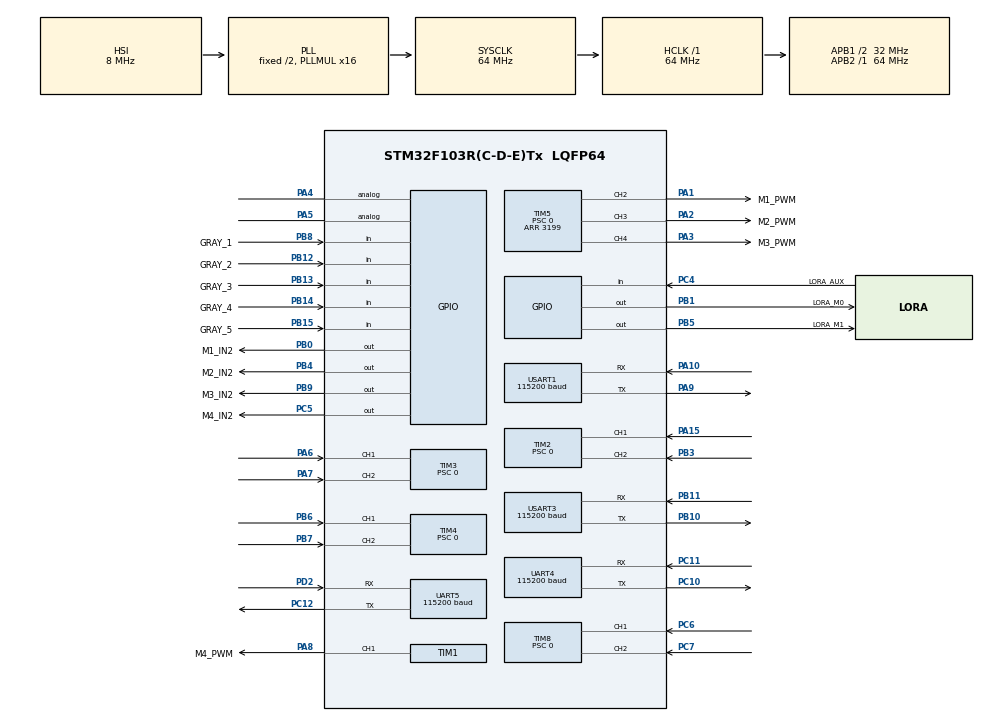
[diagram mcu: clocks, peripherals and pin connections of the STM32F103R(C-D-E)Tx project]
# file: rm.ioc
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Dma.Request0=USART3_RX
Dma.Request1=USART3_TX
Dma.Request2=UART4_RX
Dma.Request3=UART4_TX
Dma.UART4_RX.2.Direction=DMA_PERIPH_TO_MEMORY
Dma.UART4_RX.2.Instance=DMA2_Channel3
Dma.UART4_RX.2.MemDataAlignment=DMA_MDATAALIGN_BYTE
Dma.UART4_RX.2.MemInc=DMA_MINC_ENABLE
Dma.UART4_RX.2.Mode=DMA_CIRCULAR
Dma.UART4_RX.2.PeriphDataAlignment=DMA_PDATAALIGN_BYTE
Dma.UART4_RX.2.PeriphInc=DMA_PINC_DISABLE
Dma.UART4_RX.2.Priority=DMA_PRIORITY_LOW
Dma.UART4_TX.3.Direction=DMA_MEMORY_TO_PERIPH
Dma.UART4_TX.3.Instance=DMA2_Channel5
Dma.UART4_TX.3.MemDataAlignment=DMA_MDATAALIGN_BYTE
Dma.UART4_TX.3.MemInc=DMA_MINC_ENABLE
Dma.UART4_TX.3.Mode=DMA_CIRCULAR
Dma.UART4_TX.3.PeriphDataAlignment=DMA_PDATAALIGN_BYTE
Dma.UART4_TX.3.PeriphInc=DMA_PINC_DISABLE
Dma.UART4_TX.3.Priority=DMA_PRIORITY_LOW
Dma.USART3_RX.0.Direction=DMA_PERIPH_TO_MEMORY
Dma.USART3_RX.0.Instance=DMA1_Channel3
Dma.USART3_RX.0.MemDataAlignment=DMA_MDATAALIGN_BYTE
Dma.USART3_RX.0.MemInc=DMA_MINC_ENABLE
Dma.USART3_RX.0.Mode=DMA_CIRCULAR
Dma.USART3_RX.0.PeriphDataAlignment=DMA_PDATAALIGN_BYTE
Dma.USART3_RX.0.PeriphInc=DMA_PINC_DISABLE
Dma.USART3_RX.0.Priority=DMA_PRIORITY_LOW
Dma.USART3_TX.1.Direction=DMA_MEMORY_TO_PERIPH
Dma.USART3_TX.1.Instance=DMA1_Channel2
Dma.USART3_TX.1.MemDataAlignment=DMA_MDATAALIGN_BYTE
Dma.USART3_TX.1.MemInc=DMA_MINC_ENABLE
Dma.USART3_TX.1.Mode=DMA_CIRCULAR
Dma.USART3_TX.1.PeriphDataAlignment=DMA_PDATAALIGN_BYTE
Dma.USART3_TX.1.PeriphInc=DMA_PINC_DISABLE
Dma.USART3_TX.1.Priority=DMA_PRIORITY_LOW
FREERTOS.Tasks01=RobotTask,24,512,StartRobotTask,Default,NULL,Dynamic,NULL,NULL
FREERTOS.configTOTAL_HEAP_SIZE=8192
Mcu.Family=STM32F1
Mcu.Name=STM32F103R(C-D-E)Tx
Mcu.Package=LQFP64
NVIC.DMA1_Channel2_IRQn=true\:5\:0\:false\:false\:true\:false\:true\:true\:true
NVIC.DMA1_Channel3_IRQn=true\:5\:0\:false\:false\:true\:false\:true\:true\:true
NVIC.DMA2_Channel3_IRQn=true\:5\:0\:false\:false\:true\:false\:true\:true\:true
NVIC.DMA2_Channel4_5_IRQn=true\:5\:0\:false\:false\:true\:false\:true\:true\:true
NVIC.PriorityGroup=NVIC_PRIORITYGROUP_4
NVIC.TIM6_IRQn=true\:15\:0\:false\:false\:true\:false\:true\:true\:true
NVIC.TimeBase=TIM6_IRQn
NVIC.TimeBaseIP=TIM6
NVIC.UART4_IRQn=true\:5\:0\:false\:false\:true\:true\:true\:true\:true
NVIC.UART5_IRQn=true\:5\:0\:false\:false\:true\:true\:true\:true\:true
NVIC.USART1_IRQn=true\:5\:0\:false\:false\:true\:true\:true\:true\:true
NVIC.USART3_IRQn=true\:5\:0\:false\:false\:true\:true\:true\:true\:true
PA1.GPIO_Label=M1_PWM
PA1.Signal=S_TIM5_CH2
PA10.Mode=Asynchronous
PA10.Signal=USART1_RX
PA13.Mode=Serial_Wire
PA13.Signal=SYS_JTMS-SWDIO
PA14.Mode=Serial_Wire
PA14.Signal=SYS_JTCK-SWCLK
PA15.Signal=S_TIM2_CH1_ETR
PA2.GPIO_Label=M2_PWM
PA2.Signal=S_TIM5_CH3
PA3.GPIO_Label=M3_PWM
PA3.Signal=S_TIM5_CH4
PA4.Signal=GPIO_Analog
PA5.Signal=GPIO_Analog
PA6.Signal=S_TIM3_CH1
PA7.Signal=S_TIM3_CH2
PA8.GPIO_Label=M4_PWM
PA8.Signal=S_TIM1_CH1
PA9.Mode=Asynchronous
PA9.Signal=USART1_TX
PB0.GPIO_Label=M1_IN2
PB0.PinState=GPIO_PIN_RESET
PB0.Signal=GPIO_Output
PB1.GPIO_Label=LORA_M0
PB1.PinState=GPIO_PIN_RESET
PB1.Signal=GPIO_Output
PB10.Mode=Asynchronous
PB10.Signal=USART3_TX
PB11.Mode=Asynchronous
PB11.Signal=USART3_RX
PB12.GPIO_Label=GRAY_2
PB12.Signal=GPIO_Input
PB13.GPIO_Label=GRAY_3
PB13.Signal=GPIO_Input
PB14.GPIO_Label=GRAY_4
PB14.Signal=GPIO_Input
PB15.GPIO_Label=GRAY_5
PB15.Signal=GPIO_Input
PB3.Signal=S_TIM2_CH2
PB4.GPIO_Label=M2_IN2
PB4.PinState=GPIO_PIN_RESET
PB4.Signal=GPIO_Output
PB5.GPIO_Label=LORA_M1
PB5.PinState=GPIO_PIN_RESET
PB5.Signal=GPIO_Output
PB6.Signal=S_TIM4_CH1
PB7.Signal=S_TIM4_CH2
PB8.GPIO_Label=GRAY_1
PB8.Signal=GPIO_Input
PB9.GPIO_Label=M3_IN2
PB9.PinState=GPIO_PIN_RESET
PB9.Signal=GPIO_Output
PC10.Mode=Asynchronous
PC10.Signal=UART4_TX
PC11.Mode=Asynchronous
PC11.Signal=UART4_RX
PC12.Mode=Asynchronous
PC12.Signal=UART5_TX
PC4.GPIO_Label=LORA_AUX
PC4.Signal=GPIO_Input
PC5.GPIO_Label=M4_IN2
PC5.PinState=GPIO_PIN_RESET
PC5.Signal=GPIO_Output
PC6.Signal=S_TIM8_CH1
PC7.Signal=S_TIM8_CH2
PD2.Mode=Asynchronous
PD2.Signal=UART5_RX
ProjectManager.HeapSize=0x200
ProjectManager.StackSize=0x400
ProjectManager.TargetToolchain=CMake
RCC.AHBFreq_Value=64000000
RCC.APB1CLKDivider=RCC_HCLK_DIV2
RCC.APB1Freq_Value=32000000
RCC.APB1TimFreq_Value=64000000
RCC.APB2Freq_Value=64000000
RCC.APB2TimFreq_Value=64000000
RCC.HCLKFreq_Value=64000000
RCC.PLLMUL=RCC_PLL_MUL16
RCC.SYSCLKFreq_VALUE=64000000
RCC.SYSCLKSource=RCC_SYSCLKSOURCE_PLLCLK
RCC.USBFreq_Value=64000000
SH.S_TIM1_CH1.0=TIM1_CH1,PWM Generation1 CH1
SH.S_TIM2_CH1_ETR.0=TIM2_CH1,Encoder_Interface
SH.S_TIM2_CH2.0=TIM2_CH2,Encoder_Interface
SH.S_TIM3_CH1.0=TIM3_CH1,Encoder_Interface
SH.S_TIM3_CH2.0=TIM3_CH2,Encoder_Interface
SH.S_TIM4_CH1.0=TIM4_CH1,Encoder_Interface
SH.S_TIM4_CH2.0=TIM4_CH2,Encoder_Interface
SH.S_TIM5_CH2.0=TIM5_CH2,PWM Generation2 CH2
SH.S_TIM5_CH3.0=TIM5_CH3,PWM Generation3 CH3
SH.S_TIM5_CH4.0=TIM5_CH4,PWM Generation4 CH4
SH.S_TIM8_CH1.0=TIM8_CH1,Encoder_Interface
SH.S_TIM8_CH2.0=TIM8_CH2,Encoder_Interface
TIM1.AutoReloadPreload=TIM_AUTORELOAD_PRELOAD_ENABLE
TIM1.Channel-PWM\ Generation1\ CH1=TIM_CHANNEL_1
TIM1.Period=3199
TIM1.Prescaler=0
TIM1.Pulse-PWM\ Generation1\ CH1=0
TIM2.EncoderMode=TIM_ENCODERMODE_TI12
TIM2.IC1Filter=0
TIM2.IC2Filter=0
TIM2.Period=65535
TIM2.Prescaler=0
TIM3.EncoderMode=TIM_ENCODERMODE_TI12
TIM3.IC1Filter=0
TIM3.IC2Filter=0
TIM3.Period=65535
TIM3.Prescaler=0
TIM4.EncoderMode=TIM_ENCODERMODE_TI12
TIM4.IC1Filter=0
TIM4.IC2Filter=0
TIM4.Period=65535
TIM4.Prescaler=0
TIM5.AutoReloadPreload=TIM_AUTORELOAD_PRELOAD_ENABLE
TIM5.Channel-PWM\ Generation2\ CH2=TIM_CHANNEL_2
TIM5.Channel-PWM\ Generation3\ CH3=TIM_CHANNEL_3
TIM5.Channel-PWM\ Generation4\ CH4=TIM_CHANNEL_4
TIM5.Period=3199
TIM5.Prescaler=0
TIM5.Pulse-PWM\ Generation2\ CH2=0
TIM5.Pulse-PWM\ Generation3\ CH3=0
TIM5.Pulse-PWM\ Generation4\ CH4=0
TIM8.EncoderMode=TIM_ENCODERMODE_TI12
TIM8.IC1Filter=0
TIM8.IC2Filter=0
TIM8.Period=65535
TIM8.Prescaler=0
UART4.BaudRate=115200
UART4.VirtualMode=Asynchronous
UART5.BaudRate=115200
UART5.Mode=MODE_TX
UART5.VirtualMode=Asynchronous
USART1.BaudRate=115200
USART1.VirtualMode=VM_ASYNC
USART3.BaudRate=115200
USART3.VirtualMode=VM_ASYNC
VP_FREERTOS_VS_CMSIS_V2.Mode=CMSIS_V2
VP_SYS_VS_tim6.Mode=TIM6
VP_TIM1_VS_ClockSourceINT.Mode=Internal
VP_TIM5_VS_ClockSourceINT.Mode=Internal
board=custom

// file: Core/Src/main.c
/* USER CODE BEGIN Header */
/**
  ******************************************************************************
  * @file           : main.c
  * @brief          : Main program body
  ******************************************************************************
  * @attention
  *
  * Copyright (c) 2026 STMicroelectronics.
  * All rights reserved.
  *
  * This software is licensed under terms that can be found in the LICENSE file
  * in the root directory of this software component.
  * If no LICENSE file comes with this software, it is provided AS-IS.
  *
  ******************************************************************************
  */
/* USER CODE END Header */
#include "main.h"
#include "cmsis_os.h"
#include "dma.h"
#include "tim.h"
#include "usart.h"
#include "gpio.h"

void SystemClock_Config(void);
void MX_FREERTOS_Init(void);

int main(void)
{

  /* MCU Configuration--------------------------------------------------------*/

  /* Reset of all peripherals, Initializes the Flash interface and the Systick. */
  HAL_Init();

  /* Configure the system clock */
  SystemClock_Config();

  /* Initialize all configured peripherals */
  MX_GPIO_Init();
  MX_DMA_Init();
  MX_TIM3_Init();
  MX_TIM4_Init();
  MX_TIM5_Init();
  MX_TIM8_Init();
  MX_USART1_UART_Init();
  MX_USART3_UART_Init();
  MX_UART4_Init();
  MX_UART5_Init();
  MX_TIM1_Init();
  MX_TIM2_Init();

  /* Init scheduler */
  osKernelInitialize();

  /* Call init function for freertos objects (in cmsis_os2.c) */
  MX_FREERTOS_Init();

  /* Start scheduler */
  osKernelStart();

  /* We should never get here as control is now taken by the scheduler */

  /* Infinite loop */
  while (1)
  {

  }
}

void SystemClock_Config(void)
{
  RCC_OscInitTypeDef RCC_OscInitStruct = {0};
  RCC_ClkInitTypeDef RCC_ClkInitStruct = {0};

  /** Initializes the RCC Oscillators according to the specified parameters
  * in the RCC_OscInitTypeDef structure.
  */
  RCC_OscInitStruct.OscillatorType = RCC_OSCILLATORTYPE_HSI;
  RCC_OscInitStruct.HSIState = RCC_HSI_ON;
  RCC_OscInitStruct.HSICalibrationValue = RCC_HSICALIBRATION_DEFAULT;
  RCC_OscInitStruct.PLL.PLLState = RCC_PLL_ON;
  RCC_OscInitStruct.PLL.PLLSource = RCC_PLLSOURCE_HSI_DIV2;
  RCC_OscInitStruct.PLL.PLLMUL = RCC_PLL_MUL16;
  if (HAL_RCC_OscConfig(&RCC_OscInitStruct) != HAL_OK)
  {
    Error_Handler();
  }

  /** Initializes the CPU, AHB and APB buses clocks
  */
  RCC_ClkInitStruct.ClockType = RCC_CLOCKTYPE_HCLK|RCC_CLOCKTYPE_SYSCLK
                              |RCC_CLOCKTYPE_PCLK1|RCC_CLOCKTYPE_PCLK2;
  RCC_ClkInitStruct.SYSCLKSource = RCC_SYSCLKSOURCE_PLLCLK;
  RCC_ClkInitStruct.AHBCLKDivider = RCC_SYSCLK_DIV1;
  RCC_ClkInitStruct.APB1CLKDivider = RCC_HCLK_DIV2;
  RCC_ClkInitStruct.APB2CLKDivider = RCC_HCLK_DIV1;

  if (HAL_RCC_ClockConfig(&RCC_ClkInitStruct, FLASH_LATENCY_2) != HAL_OK)
  {
    Error_Handler();
  }
}

void HAL_TIM_PeriodElapsedCallback(TIM_HandleTypeDef *htim)
{
  if (htim->Instance == TIM6) {
    HAL_IncTick();
  }
}

void Error_Handler(void)
{
  __disable_irq();
  while (1)
  {
  }
}

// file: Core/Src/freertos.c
/* USER CODE BEGIN Header */
/**
  ******************************************************************************
  * File Name          : freertos.c
  * Description        : Code for freertos applications
  ******************************************************************************
  * @attention
  *
  * Copyright (c) 2026 STMicroelectronics.
  * All rights reserved.
  *
  * This software is licensed under terms that can be found in the LICENSE file
  * in the root directory of this software component.
  * If no LICENSE file comes with this software, it is provided AS-IS.
  *
  ******************************************************************************
  */
/* USER CODE END Header */

#include "FreeRTOS.h"
#include "task.h"
#include "main.h"
#include "cmsis_os.h"

/* USER CODE BEGIN Includes */
#include "app_config.h"
#include "app_robot.h"
#include "app_remote.h"
#include "app_vision.h"
#include "bsp_uart.h"
/* USER CODE END Includes */

/* Definitions for RobotTask */
osThreadId_t RobotTaskHandle;
const osThreadAttr_t RobotTask_attributes = {
  .name = "RobotTask",
  .stack_size = 512 * 4,
  .priority = (osPriority_t) osPriorityNormal,
};

void StartRobotTask(void *argument);

void MX_FREERTOS_Init(void); /* (MISRA C 2004 rule 8.1) */

void MX_FREERTOS_Init(void) {

  /* Create the thread(s) */
  /* creation of RobotTask */
  RobotTaskHandle = osThreadNew(StartRobotTask, NULL, &RobotTask_attributes);

}

void StartRobotTask(void *argument)
{
  /* USER CODE BEGIN StartRobotTask */
  (void)argument;

  /* 初始化顺序：串口 -> 日志 -> 整机状态 -> 各应用模块 */
  BSP_Uart_Init();
  BSP_Log_Init();
  LOG("\r\n=== electB fw boot ===\r\n");

  App_Robot_Init();
  App_Remote_Init();
  App_Vision_Init();

  LOG("mode=%s period=%ums\r\n",
      App_Robot_ModeName(App_Robot_GetMode()),
      (unsigned int)APP_ROBOT_PERIOD_MS);

  /* 10 ms 主环 */
  for(;;)
  {
    App_Remote_Update();      /* 遥控帧：模式/档位、摇杆、按键、失联判断 */
    App_Vision_Update();      /* 视觉帧：路线锁存、灯色时效、在线状态 */

    osDelay(APP_ROBOT_PERIOD_MS);
  }
  /* USER CODE END StartRobotTask */
}
